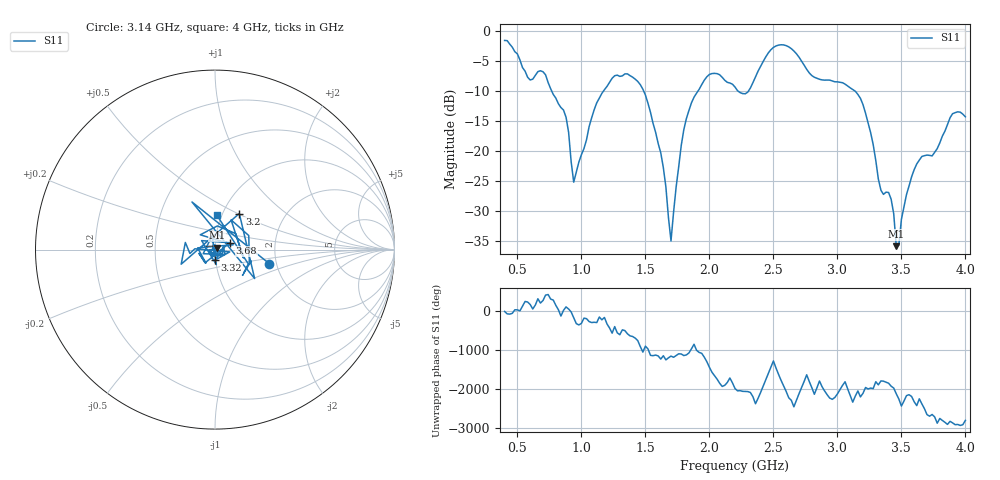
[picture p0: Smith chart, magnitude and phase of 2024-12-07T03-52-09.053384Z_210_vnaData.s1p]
!Created with skrf (http://scikit-rf.org).
# Hz S RI R 50.0
!freq ReS11 ImS11
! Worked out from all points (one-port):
!   181 points, 400 MHz to 4 GHz, reference 50 ohm
!   lowest |S11| = -35.9 dB at 3.46 GHz (marker M1), VSWR 1.03, Z = 51.2 + j1.12 ohm
!   |S11| at or under -10 dB: 766.9 MHz to 1.174 GHz (407.4 MHz wide, 42 % of centre); 1.485 GHz to 1.913 GHz (427.2 MHz wide, 25.1 % of centre); 3.134 GHz to end of sweep (the widest 3 of 4)
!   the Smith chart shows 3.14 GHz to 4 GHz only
!   S11 on the Smith chart (normalised r, x): 3.14 GHz: 1.83, -0.32; 3.2 GHz: 1.19, +0.51; 3.32 GHz: 0.99, -0.12; 3.68 GHz: 1.18, +0.09; 4 GHz: 0.95, +0.38
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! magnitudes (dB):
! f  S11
! 400 MHz  -1.6
! 600 MHz  -8.2
! 700 MHz  -6.8
! 860 MHz  -13.2
! 900 MHz  -16.9
! 940 MHz  -25.2
! 1.12 GHz  -12.0
! 1.3 GHz  -7.6
! 1.5 GHz  -10.7
! 1.62 GHz  -20.3
! 1.7 GHz  -35.0
! 1.76 GHz  -22.7
! 1.82 GHz  -14.6
! 1.96 GHz  -8.2
! 2.2 GHz  -9.4
! 2.3 GHz  -10.2
! 2.5 GHz  -2.8
! 2.66 GHz  -3.4
! 3.1 GHz  -9.5
! 3.14 GHz  -10.1
! 3.2 GHz  -12.3
! 3.32 GHz  -24.7
! 3.42 GHz  -28.1
! 3.46 GHz  -35.9
! 3.56 GHz  -25.8
! 3.68 GHz  -20.8
! 3.9 GHz  -13.8
! 4 GHz  -14.3
